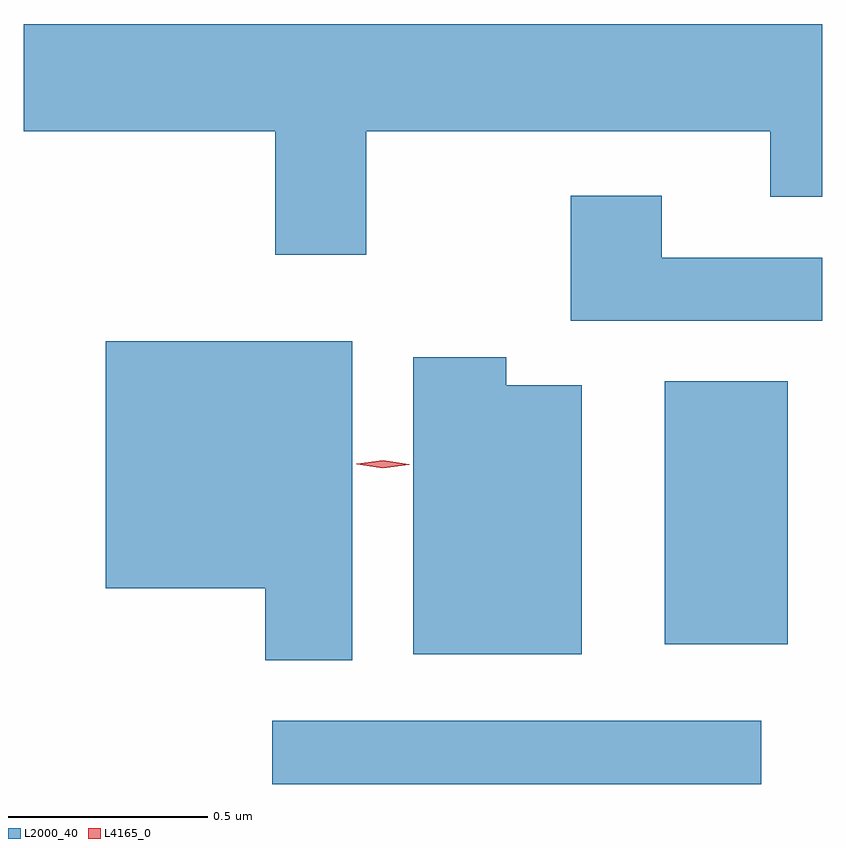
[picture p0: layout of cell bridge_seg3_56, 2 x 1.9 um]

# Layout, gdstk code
import gdstk
lib = gdstk.Library(unit=1e-6, precision=1e-09)
def R(c, l, rs):  # rectangles x0, y0, x1, y1
    for r in rs: c.add(gdstk.rectangle(r[:2], r[2:], *l))
def P(c, l, *ps):  # polygons
    for p in ps: c.add(gdstk.Polygon(p, *l))
L2000_40 = (2000, 40)
L4165_0 = (4165, 0)

bridge_seg3_56 = lib.new_cell('bridge_seg3_56')
R(bridge_seg3_56, L2000_40, [(1255.013,1242.041,1256.238,1242.199), (1255.996,1242.391,1256.304,1243.049)])
P(bridge_seg3_56, L2000_40, [(1254.391,1243.676),(1255.021,1243.676),(1255.021,1243.366),(1255.249,1243.366),(1255.249,1243.676),(1256.261,1243.676),(1256.261,1243.511),(1256.391,1243.511),(1256.391,1243.944),(1254.391,1243.944)],
  [(1256.391,1243.359),(1255.989,1243.359),(1255.989,1243.514),(1255.761,1243.514),(1255.761,1243.201),(1256.391,1243.201)],
  [(1255.214,1243.149),(1254.596,1243.149),(1254.596,1242.531),(1254.996,1242.531),(1254.996,1242.351),(1255.214,1242.351)],
  [(1255.789,1243.039),(1255.599,1243.039),(1255.599,1243.109),(1255.366,1243.109),(1255.366,1242.366),(1255.789,1242.366)])
P(bridge_seg3_56, L4165_0, [(1255.29,1242.832),(1255.225,1242.842),(1255.224,1242.843),(1255.225,1242.843),(1255.291,1242.852),(1255.356,1242.842),(1255.357,1242.842),(1255.356,1242.841)])

lib.write_gds('bridge_seg3_56.gds')
